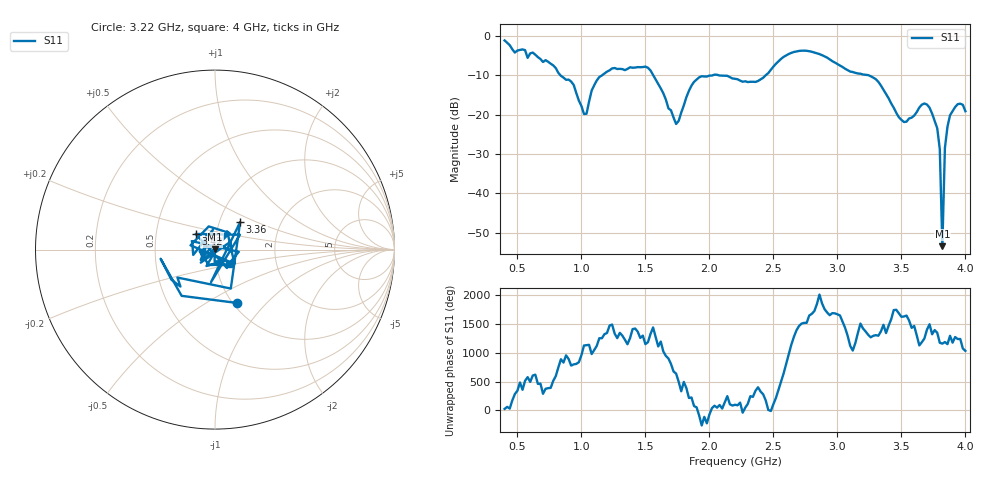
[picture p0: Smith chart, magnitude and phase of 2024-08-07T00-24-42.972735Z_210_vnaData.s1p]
!Created with skrf (http://scikit-rf.org).
# Hz S RI R 50.0
!freq ReS11 ImS11
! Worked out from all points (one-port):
!   181 points, 400 MHz to 4 GHz, reference 50 ohm
!   lowest |S11| = -53.4 dB at 3.82 GHz (marker M1), VSWR 1.00, Z = 50 + j0.21 ohm
!   |S11| at or under -10 dB: 1.561 GHz to 2.027 GHz (465.6 MHz wide, 26 % of centre); 2.072 GHz to 2.44 GHz (367.7 MHz wide, 16.3 % of centre); 3.243 GHz to end of sweep (the widest 3 of 4)
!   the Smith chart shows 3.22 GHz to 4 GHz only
!   S11 on the Smith chart (normalised r, x): 3.22 GHz: 1.04, -0.69; 3.36 GHz: 1.25, +0.40; 3.42 GHz: 0.79, +0.14; 4 GHz: 1.15, -0.19
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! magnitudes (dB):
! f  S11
! 400 MHz  -1.2
! 860 MHz  -10.6
! 940 MHz  -12.5
! 1.04 GHz  -19.8
! 1.12 GHz  -11.3
! 1.3 GHz  -8.4
! 1.52 GHz  -8.1
! 1.74 GHz  -22.4
! 1.76 GHz  -21.6
! 1.84 GHz  -14.0
! 1.92 GHz  -10.5
! 2.2 GHz  -10.9
! 2.38 GHz  -11.5
! 2.66 GHz  -4.1
! 3.1 GHz  -9.1
! 3.22 GHz  -9.9
! 3.36 GHz  -13.7
! 3.42 GHz  -17.1
! 3.52 GHz  -21.9
! 3.56 GHz  -21.0
! 3.68 GHz  -17.2
! 3.78 GHz  -23.5
! 3.8 GHz  -28.7
! 3.82 GHz  -53.4
! 3.84 GHz  -28.4
! 3.86 GHz  -23.1
! 3.94 GHz  -17.3
! 4 GHz  -19.1
